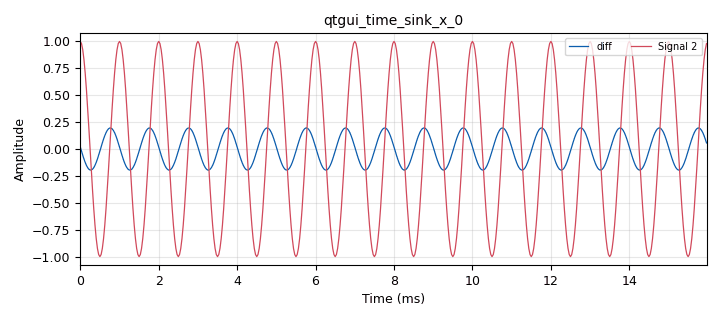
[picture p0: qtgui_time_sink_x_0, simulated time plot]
options:
  parameters:
    generate_options: qt_gui
    id: diff
    output_language: python
    title: Not titled yet
  states: {}

blocks:
- name: samp_rate
  id: variable
  parameters:
    value: '32000'
  states: {}
- name: analog_sig_source_x_0
  id: analog_sig_source_x
  parameters:
    amp: '1'
    freq: '1000'
    offset: '0'
    phase: '0'
    samp_rate: samp_rate
    type: float
    waveform: analog.GR_COS_WAVE
  states: {}
- name: blocks_throttle2_0
  id: blocks_throttle2
  parameters:
    samples_per_second: samp_rate
    type: float
  states: {}
- name: epy_block_0
  id: epy_block
  parameters:
    _source_code: "###### DIFERENCIADOR\n\nimport numpy as np\nfrom gnuradio import gr\n\nclass blk(gr.sync_block): \n    def __init__(self):  \n        gr.sync_block.__init__(\n            self,\n            name='e_Diff', \n            in_sig=[np.float32],\n            out_sig=[np.float32]\n        )\n\n    def work(self, input_items, output_items):\n        x = input_items[0]\n        y0 = output_items[0]\n\n        diff = np.empty_like(x)\n        diff[0] = 0          # Inicializamos el primer elemento\n        diff[1:] = x[1:] - x[:-1]  # Diferencia entre cada muestra y su predecesora\n        \n        y0[:] = diff\n        return len(y0)\n\n"
  states: {}
- name: qtgui_sink_x_0
  id: qtgui_sink_x
  parameters:
    bw: samp_rate
    fc: '0'
    fftsize: '1024'
    type: float
  states: {state: disabled}
- name: qtgui_time_sink_x_0
  id: qtgui_time_sink_x
  parameters:
    color1: black
    label1: diff
    nconnections: '2'
    size: '512'
    srate: samp_rate
    type: float
  states: {}

connections:
- [analog_sig_source_x_0, '0', epy_block_0, '0']
- [analog_sig_source_x_0, '0', qtgui_time_sink_x_0, '1']
- [blocks_throttle2_0, '0', qtgui_sink_x_0, '0']
- [blocks_throttle2_0, '0', qtgui_time_sink_x_0, '0']
- [epy_block_0, '0', blocks_throttle2_0, '0']

metadata:
  file_format: 1
  grc_version: v3.10.11.0-89-ga17f69e7
